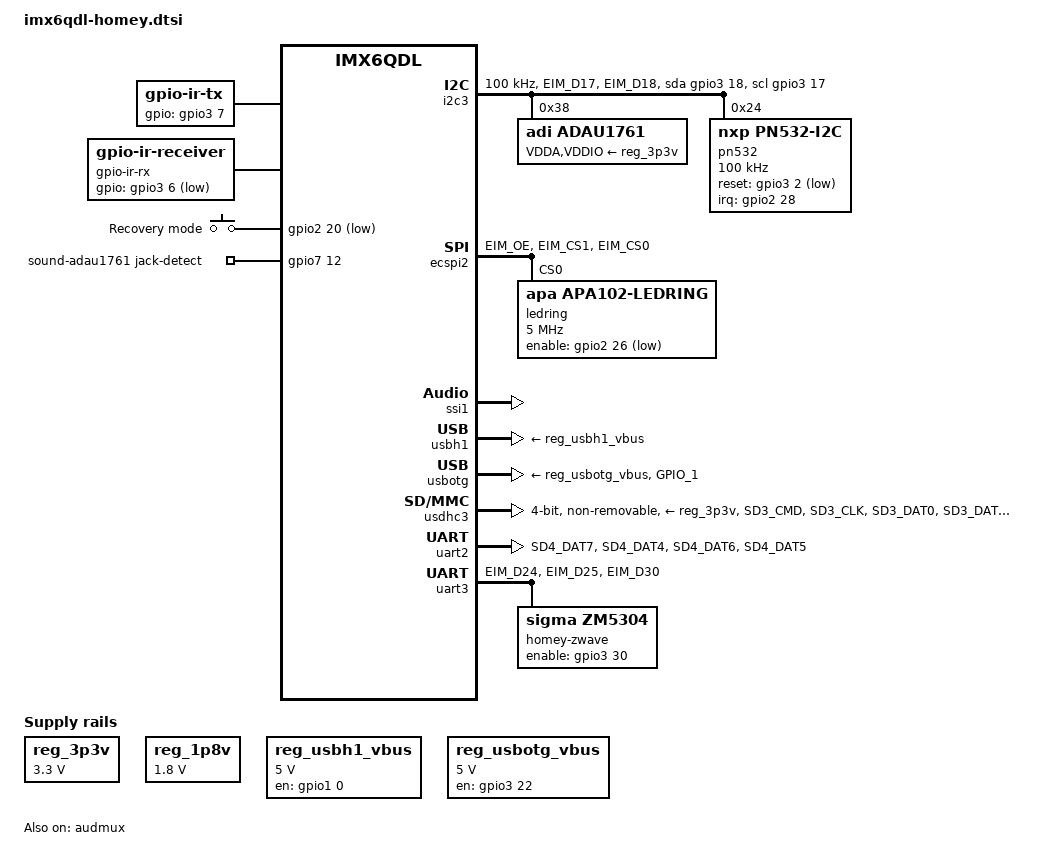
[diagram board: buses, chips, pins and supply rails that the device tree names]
/*
 * Copyright (C) 2013,2014 Athom B.V. Jeroen Vollenbrock
 */

/ {
	chosen {
		stdout-path = &uart1;
	};
	
	gpio-ir-tx {
		compatible = "gpio-ir-tx";
		gpios = <&gpio3 7 GPIO_ACTIVE_HIGH>;
		pinctrl-names = "default";
		pinctrl-0 = <&pinctrl_homey_ir_tx>;
	};
	
	gpio-ir-rx {
		compatible = "gpio-ir-receiver";
		gpios = <&gpio3 6 GPIO_ACTIVE_LOW>;
		pinctrl-names = "default";
		pinctrl-0 = <&pinctrl_homey_ir_rx>;
	};
	
	gpio_keys {
		compatible = "gpio-keys";
 
		recovery_switch {
			label = "Recovery mode";
			gpios = <&gpio2 20 GPIO_ACTIVE_LOW>;
			linux,input-type = <5>; /* EV_SW */
			linux,code = <0>; /* SW_LID */
			gpio-key,wakeup;
		};
	};

	regulators {
		compatible = "simple-bus";

		reg_3p3v: 3p3v {
			compatible = "regulator-fixed";
			regulator-name = "3P3V";
			regulator-min-microvolt = <3300000>;
			regulator-max-microvolt = <3300000>;
			regulator-always-on;
		};
		
		reg_1p8v: 1p8v {
			compatible = "regulator-fixed";
			regulator-name = "1P8V";
			regulator-min-microvolt = <1800000>;
			regulator-max-microvolt = <1800000>;
			regulator-always-on;
		};

		reg_usbh1_vbus: usb-h1-vbus {
			compatible = "regulator-fixed";
			enable-active-high;
			gpio = <&gpio1 0 GPIO_ACTIVE_HIGH>;
			pinctrl-names = "default";
			pinctrl-0 = <&pinctrl_homey_usbh1_vbus>;
			regulator-name = "usb_h1_vbus";
			regulator-min-microvolt = <5000000>;
			regulator-max-microvolt = <5000000>;
		};

		reg_usbotg_vbus: usb-otg-vbus {
			compatible = "regulator-fixed";
			enable-active-high;
			gpio = <&gpio3 22 GPIO_ACTIVE_HIGH>;
			pinctrl-names = "default";
			pinctrl-0 = <&pinctrl_homey_usbotg_vbus>;
			regulator-name = "usb_otg_vbus";
			regulator-min-microvolt = <5000000>;
			regulator-max-microvolt = <5000000>;
		};
	};

	sound-adau1761 {
		compatible = "fsl,imx-audio-adau1761";
		model = "imx-audio-adau1761";
		jack-detect-gpio = <&gpio7 12 GPIO_ACTIVE_HIGH>;
		audio-routing =
			"Aux Out", "LHP",
			"Aux Out", "RHP",
			"Homey Speaker", "LOUT",
			"LINP", "MIC 1",
			"LINN", "MIC 1",
			"RINP", "MIC 2",
			"RINN", "MIC 2",
			"MIC 1", "MICBIAS", /* enable VMIC for capture */
			"MIC 2", "MICBIAS"; /* enable VMIC for capture */
		audio-widgets = 
			"Microphone","MIC 1",
			"Microphone","MIC 2",
			"Line","Homey Speaker",
			"Headphone","Aux Out";
		mux-ext-port = <5>;
		mux-int-port = <1>;
		ssi-controller = <&ssi1>;
		audio-codec = <&adau1761>;
	};
};

&audmux {
	status = "okay";
};

&i2c3 {
	clock-frequency = <100000>;
	pinctrl-names = "default", "gpio";
	pinctrl-0 = <&pinctrl_homey_i2c3>;
	pinctrl-1 = <&pinctrl_homey_i2c3_gpio>;
	scl-gpios = <&gpio3 17 GPIO_ACTIVE_HIGH>;
	sda-gpios = <&gpio3 18 GPIO_ACTIVE_HIGH>;
	status = "okay";

	adau1761: adau1761@38 {
		compatible = "adi,adau1761";
		pinctrl-0 = <&pinctrl_homey_adau1761>;
		pinctrl-names = "default";
		reg = <0x38>;
		VDDA-supply = <&reg_3p3v>;
		VDDIO-supply = <&reg_3p3v>;
		
		clocks = <&clks IMX6QDL_CLK_CKO>;
	};

	pn532: pn532@24 {
		compatible = "nxp,pn532-i2c";
		pinctrl-0 = <&pinctrl_homey_pn532>;
		pinctrl-names = "default";
		reg = <0x24>;
		interrupt-parent = <&gpio2>;
		interrupts = <28 IRQ_TYPE_EDGE_FALLING>;
		
		reset-gpios = <&gpio3 2 GPIO_ACTIVE_LOW>;

		clock-frequency = <100000>;
	};
};

&iomuxc {
	pinctrl-names = "default";
	pinctrl-0 = <&pinctrl_hog>;
	homey {
		pinctrl_hog: hoggrp {
			fsl,pins = <
				/*
				 * Homey v1 GPIO description. The pins 
				 * numbering as following -
				 * GPIO number	| (bank,num)	|	Function
				 * -------------+---------------+------------
				 * gpio73		| (3,9)			| ZB_RESET
				 * gpio72		| (3,8)			| ZB_DEBUG_CLK
				 * gpio68		| (3,4)			| ZB_DEBUG_DAT
				 * gpio50		| (2,18)		| UC_ERASE
				 * gpio52		| (2,20)		| UC_BOOT_M
				 * gpio90		| (3,26)		| UC_RESET
				 *
				 * Notice the gpioX and GPIO (Y,Z) mapping forumla :
				 * X = (Y-1) * 32 + Z
				 */
				MX6QDL_PAD_EIM_DA9__GPIO3_IO09 0x4001f0b1
				MX6QDL_PAD_EIM_DA8__GPIO3_IO08 0x400130b1
				MX6QDL_PAD_EIM_DA4__GPIO3_IO04 0x400130b1
				
				MX6QDL_PAD_EIM_A20__GPIO2_IO18 0x400130b1
				MX6QDL_PAD_EIM_A18__GPIO2_IO20 0x4001f0b1
				MX6QDL_PAD_EIM_D26__GPIO3_IO26 0x4001f0b1
			>;
		};
		
		pinctrl_homey_pn532: homey-pn532 {
			fsl,pins = <
				MX6QDL_PAD_EIM_DA2__GPIO3_IO02 0x4001f0b1
				MX6QDL_PAD_EIM_EB0__GPIO2_IO28 0x400130b1
			>;
		};
		
		pinctrl_homey_ir_tx: homey-ir-tx {
			fsl,pins = <
				MX6QDL_PAD_EIM_DA7__GPIO3_IO07 0x400130b1
			>;
		};
		
		pinctrl_homey_ir_rx: homey-ir-rx {
			fsl,pins = <
				MX6QDL_PAD_EIM_DA6__GPIO3_IO06 0x4001b0b1
			>;
		};
		
		pinctrl_homey_i2c3: homey-i2c3 {
			fsl,pins = <
				MX6QDL_PAD_EIM_D17__I2C3_SCL 0x4001b8b1
				MX6QDL_PAD_EIM_D18__I2C3_SDA 0x4001b8b1
			>;
		};
		
		pinctrl_homey_i2c3_gpio: homey-i2c3_gpio {
			fsl,pins = <
				MX6QDL_PAD_EIM_D17__GPIO3_IO17 0x4001b8b1
				MX6QDL_PAD_EIM_D18__GPIO3_IO18 0x4001b8b1
			>;
		};
		
		pinctrl_homey_ecspi2: homey-ecspi2 {
			fsl,pins = <
				MX6QDL_PAD_EIM_OE__ECSPI2_MISO 0x100b1
				MX6QDL_PAD_EIM_CS1__ECSPI2_MOSI 0x100b1
				MX6QDL_PAD_EIM_CS0__ECSPI2_SCLK 0x100b1
			>;
		};
		
		pinctrl_homey_ledring: homey-ledring {
			fsl,pins = <
				MX6QDL_PAD_EIM_RW__GPIO2_IO26  0x4001f0b1
			>;
		};

		pinctrl_homey_adau1761: homey-adau1761 {
			fsl,pins = <
				MX6QDL_PAD_DISP0_DAT19__AUD5_RXD 0x130b0
				MX6QDL_PAD_KEY_COL0__AUD5_TXC 0x130b0
				MX6QDL_PAD_KEY_ROW0__AUD5_TXD 0x110b0
				MX6QDL_PAD_KEY_COL1__AUD5_TXFS 0x130b0
				MX6QDL_PAD_GPIO_5__CCM_CLKO1 0x130b0
				MX6QDL_PAD_GPIO_17__GPIO7_IO12 0x4001a0b1
			>;
		};

		pinctrl_homey_usbh1_vbus: homey-usbh1-vbus {
			fsl,pins = <MX6QDL_PAD_GPIO_0__GPIO1_IO00 0x4001b0b0>;
		};

		pinctrl_homey_usbotg_id: homey-usbotg-id {
			/*
			 * Similar to pinctrl_usbotg_2, but we want it
			 * pulled down for a fixed host connection.
			 */
			fsl,pins = <MX6QDL_PAD_GPIO_1__USB_OTG_ID 0x4001b0b0>;
		};

		pinctrl_homey_usbotg_vbus: homey-usbotg-vbus {
			fsl,pins = <MX6QDL_PAD_EIM_D22__GPIO3_IO22 0x4001b0b0>;
		};
		
		pinctrl_homey_usdhc3: homey-usdhc3 {
			fsl,pins = <
				MX6QDL_PAD_SD3_CMD__SD3_CMD	0x17059
				MX6QDL_PAD_SD3_CLK__SD3_CLK	0x10059
				MX6QDL_PAD_SD3_DAT0__SD3_DATA0 0x17059
				MX6QDL_PAD_SD3_DAT1__SD3_DATA1 0x17059
				MX6QDL_PAD_SD3_DAT2__SD3_DATA2 0x17059
				MX6QDL_PAD_SD3_DAT3__SD3_DATA3 0x13059
				MX6QDL_PAD_SD3_DAT4__SD3_DATA4 0x17059
				MX6QDL_PAD_SD3_DAT5__SD3_DATA5 0x17059
				MX6QDL_PAD_SD3_DAT6__SD3_DATA6 0x17059
				MX6QDL_PAD_SD3_DAT7__SD3_DATA7 0x17059
				MX6QDL_PAD_SD3_RST__SD3_RESET  0x17059
			>;
		};

		pinctrl_homey_zwave: homey-zwave {
			fsl,pins = <
				MX6QDL_PAD_EIM_D24__UART3_TX_DATA	0x1b0b1
				MX6QDL_PAD_EIM_D25__UART3_RX_DATA	0x1b0b1
				
				MX6QDL_PAD_EIM_D30__GPIO3_IO30      0x4001f0b1
			>;
		};
		
		pinctrl_homey_zigbee: homey-zigbee {
			fsl,pins = <
				MX6QDL_PAD_SD4_DAT7__UART2_TX_DATA	0x1b0b1
				MX6QDL_PAD_SD4_DAT4__UART2_RX_DATA	0x1b0b1
				MX6QDL_PAD_SD4_DAT6__UART2_CTS_B	0x130b1
				MX6QDL_PAD_SD4_DAT5__UART2_RTS_B	0x130b1
			>;
		};
	};
};

/* ECSPI connected to ledring */
&ecspi2 {
  fsl,spi-num-chipselects = <2>;
  cs-gpios = <0>;
  pinctrl-names = "default";
  pinctrl-0 = <&pinctrl_homey_ecspi2>;
  status = "okay";

	ledring@0x00 {
		compatible = "apa,apa102-ledring";
		spi-max-frequency = <5000000>;
		reg = <0>;
		
		pinctrl-names = "default";
		pinctrl-0 = <&pinctrl_homey_ledring>;
		
		enable-gpios = <&gpio2 26 GPIO_ACTIVE_LOW>;
		num-leds = <24>;
	};
};

/* SSI1 connected to ADAU1761 via ADMUX */
&ssi1 {
	status = "okay";
};

/* USBH1 connected to Atmel uC */
&usbh1 {
	disable-over-current;
	vbus-supply = <&reg_usbh1_vbus>;
	status = "okay";
};

/* USB OTG exported to back connector */
&usbotg {
	disable-over-current;
	pinctrl-names = "default";
	pinctrl-0 = <&pinctrl_homey_usbotg_id>;
	vbus-supply = <&reg_usbotg_vbus>;
	status = "okay";
};

/* Third uSDHC connected to main MMC card */
&usdhc3 {
	pinctrl-names = "default";
	pinctrl-0 = <&pinctrl_homey_usdhc3>;
	vmmc-supply = <&reg_3p3v>;
	keep-power-in-suspend;
	non-removable;
	status = "okay";
	bus-width = <4>;
};

/* UART2 - Connected to Zigbee modem */
&uart2 {
	pinctrl-names = "default";
	pinctrl-0 = <&pinctrl_homey_zigbee>;
	uart-has-rtscts;
	status = "okay";
	homey-zigbee;
};

/* UART3 - Connected to Z-Wave modem */
&uart3 {
	pinctrl-names = "default";
	pinctrl-0 = <&pinctrl_homey_zwave>;
	status = "okay";

	homey-zwave {
		compatible = "sigma,zm5304";
		enable-gpios = <&gpio3 30 GPIO_ACTIVE_HIGH>; /* ZW_EN */
		speed = <115200>;
	};
};
